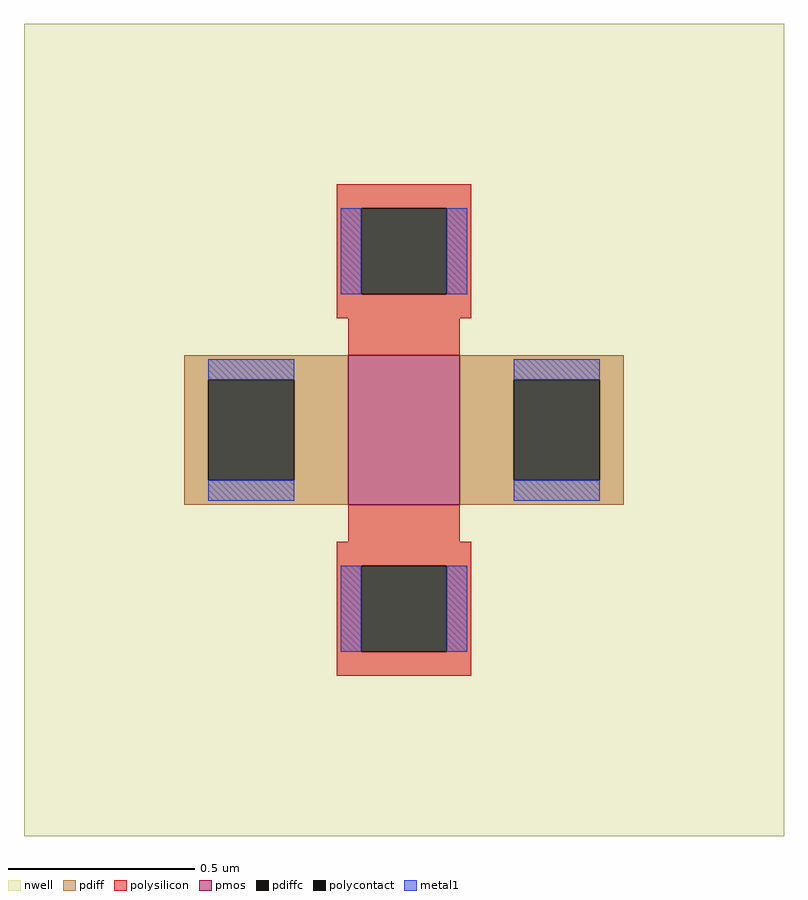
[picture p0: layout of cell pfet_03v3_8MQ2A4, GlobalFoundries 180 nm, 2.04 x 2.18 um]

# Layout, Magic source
magic
tech gf180mcuD
magscale 1 10
<< nwell >>
rect -204 -218 204 218
<< pmos >>
rect -30 -40 30 40
<< pdiff >>
rect -118 27 -30 40
rect -118 -27 -105 27
rect -59 -27 -30 27
rect -118 -40 -30 -27
rect 30 27 118 40
rect 30 -27 59 27
rect 105 -27 118 27
rect 30 -40 118 -27
<< pdiffc >>
rect -105 -27 -59 27
rect 59 -27 105 27
<< polysilicon >>
rect -36 119 36 132
rect -36 73 -23 119
rect 23 73 36 119
rect -36 60 36 73
rect -30 40 30 60
rect -30 -60 30 -40
rect -36 -73 36 -60
rect -36 -119 -23 -73
rect 23 -119 36 -73
rect -36 -132 36 -119
<< polycontact >>
rect -23 73 23 119
rect -23 -119 23 -73
<< metal1 >>
rect -34 73 -23 119
rect 23 73 34 119
rect -105 27 -59 38
rect -105 -38 -59 -27
rect 59 27 105 38
rect 59 -38 105 -27
rect -34 -119 -23 -73
rect 23 -119 34 -73
<< properties >>
string gencell pfet_03v3
string library gf180mcu
string parameters w 0.4 l 0.3 m 1 nf 1 diffcov 100 polycov 100 guard 0 glc 1 grc 1 gtc 0 gbc 0 tbcov 100 rlcov 100 topc 1 botc 1 poverlap 0 doverlap 1 lmin 0.28 wmin 0.22 class mosfet full_metal 0 compatible {pfet_03v3 pfet_06v0}
<< end >>
